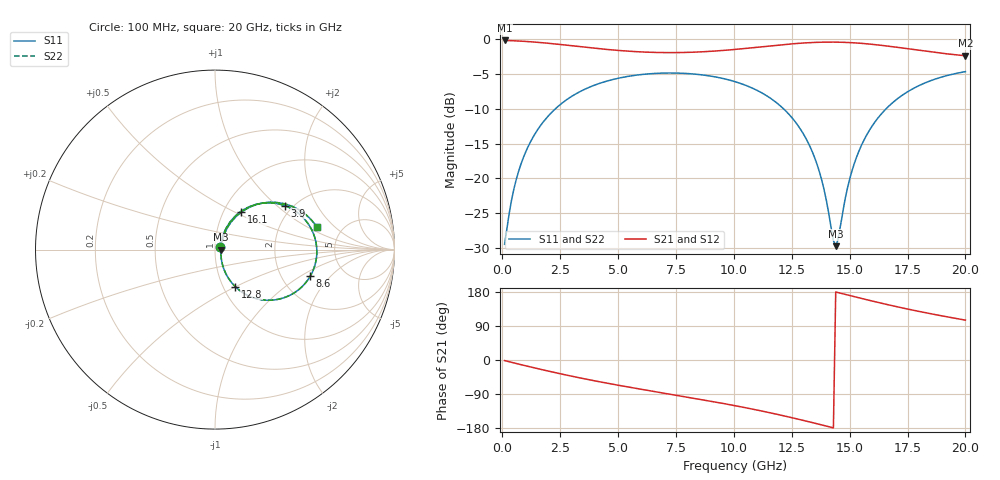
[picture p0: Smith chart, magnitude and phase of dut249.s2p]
! Touchstone file exported from HFSS 2026.1.0
!  File:  C:/ffzhzh/LocalFiles/Ansys_Project_Files/temp_train_TSV_RDL_249_1783067652_17544.aedt
!  Generated:  04:43:25 PM Jul  3, 2026
!  Design:  TSV_RDL
!  Project:  temp_train_TSV_RDL_249_1783067652_17544
! Variables:
!  h_bsmrdl = 3.26um
!  h_ox = 20um
!  h_rdl = 5um
!  h_sub = 77.15um
!  h_tmrdl = 3.23um
!  h_tsv = 77.15um
!  h_via = 3um
!  l_bsmrdl = 981.11um
!  l_sub = 3900.6um
!  l_tmrdl = 114.11um
!  m_sub = 200um
!  pitch = 44.46um
!  r_tsv = 14.18um
!  s_tmrdl = 10um
!  w_bsmrdl = 11.63um
!  w_sub = 500um
!  w_tmrdl = 21.98um
!  x_tsv_center1 = 125.1um
!  x_tsv_center2 = 1117.84um
!  x_tsv_center3 = 1253.93um
!  x_tsv_center4 = 2246.67um
!  x_tsv_center5 = 2382.76um
!  x_tsv_center6 = 3375.5um
# GHz S MA R 50.000000
! Terminal data exported
! Port[1] = TM_RDL1_1_T1
! Port[2] = TM_RDL5_1_T1
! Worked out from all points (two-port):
!   200 points, 100 MHz to 20 GHz, reference 50 ohm
!   highest |S21| = -0.26 dB at 100 MHz (marker M1); lowest = -2.4 dB at 20 GHz (marker M2)
!   |S21| within 3 dB of the highest: start of sweep to end of sweep
!   lowest |S11| = -29.7 dB at 14.4 GHz (marker M3), VSWR 1.07, Z = 53.4 - j0.0975 ohm
!   |S11| at or under -10 dB: start of sweep to 2.304 GHz; 12.13 GHz to 16.59 GHz (4.452 GHz wide, 31 % of centre)
!   |S22| runs from -29.6 to -4.7 dB; largest |S21 - S12| = 1.6e-14
!   S11 on the Smith chart (normalised r, x): 100 MHz: 1.06, +0.03; 3.9 GHz: 1.82, +1.13; 8.6 GHz: 2.87, -1.22; 12.8 GHz: 1.14, -0.50; 16.1 GHz: 1.21, +0.54; 20 GHz: 3.25, +1.24
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0.1  0.03384 26.7  0.9701 -1.6  0.9701 -1.6  0.03384 26.7
! Gamma 0 0 0 0
! Port Impedance 50 0 50 0
0.4  0.0701 57.2  0.9666 -6.2  0.9666 -6.2  0.0701 57.2
0.6  0.09795 61.4  0.9632 -9.2  0.9632 -9.2  0.09795 61.4
1.2  0.1803 61.0  0.95 -18.1  0.95 -18.1  0.1803 61.1
2.2  0.3046 51.4  0.9189 -32.2  0.9189 -32.2  0.3046 51.4
3.5  0.4295 36.7  0.8707 -49.1  0.8707 -49.1  0.4295 36.7
3.9  0.4591 32.3  0.8565 -53.9  0.8565 -53.9  0.4591 32.3
6.8  0.5658 2.3  0.7952 -85.6  0.7952 -85.6  0.5658 2.3
8.6  0.551 -15.6  0.8042 -104.4  0.8042 -104.4  0.551 -15.6
10.1  0.4895 -31.3  0.8383 -121.1  0.8383 -121.1  0.4894 -31.2
11.7  0.3629 -49.3  0.8913 -141.1  0.8913 -141.1  0.3629 -49.2
12.8  0.2352 -61.3  0.9252 -156.4  0.9252 -156.4  0.2352 -61.2
13.4  0.1535 -65.6  0.9378 -165.3  0.9378 -165.3  0.1536 -65.5
13.8  0.09677 -64.0  0.9427 -171.4  0.9427 -171.4  0.09687 -63.8
14.3  0.03597 -25.5  0.9441 -179.0  0.9441 -179.0  0.03628 -25.2
14.4  0.03281 -1.6  0.9437 179.4  0.9437 179.4  0.03315 -1.6
14.9  0.08439 56.9  0.9385 171.7  0.9385 171.7  0.08453 56.7
15.2  0.1276 60.5  0.9328 167.2  0.9328 167.2  0.1277 60.3
16.1  0.2543 55.0  0.9057 153.8  0.9057 153.8  0.2543 54.9
16.7  0.33 48.4  0.8818 145.2  0.8818 145.2  0.33 48.4
18.2  0.4778 31.4  0.8165 125.7  0.8165 125.7  0.4778 31.4
20  0.5805 12.6  0.7544 105.3  0.7544 105.3  0.5804 12.6
